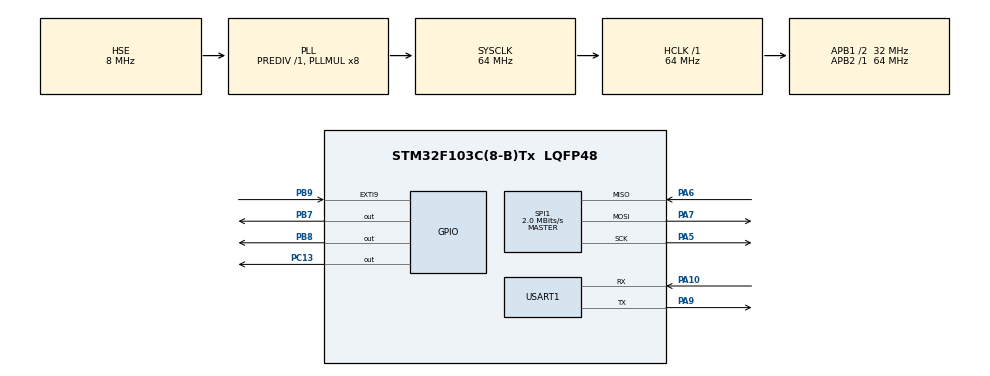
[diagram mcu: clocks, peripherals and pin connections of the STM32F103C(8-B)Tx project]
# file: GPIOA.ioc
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Mcu.Family=STM32F1
Mcu.Name=STM32F103C(8-B)Tx
Mcu.Package=LQFP48
NVIC.EXTI9_5_IRQn=true\:0\:0\:false\:false\:true\:true
NVIC.PriorityGroup=NVIC_PRIORITYGROUP_4
NVIC.USART1_IRQn=true\:1\:0\:true\:false\:true\:true
PA10.Mode=Asynchronous
PA10.Signal=USART1_RX
PA5.Mode=Full_Duplex_Master
PA5.Signal=SPI1_SCK
PA6.Mode=Full_Duplex_Master
PA6.Signal=SPI1_MISO
PA7.Mode=Full_Duplex_Master
PA7.Signal=SPI1_MOSI
PA9.Mode=Asynchronous
PA9.Signal=USART1_TX
PB7.Signal=GPIO_Output
PB8.Signal=GPIO_Output
PB9.GPIO_ModeDefaultEXTI=GPIO_MODE_IT_FALLING
PB9.Signal=GPXTI9
PC13-TAMPER-RTC.Signal=GPIO_Output
PD0-OSC_IN.Mode=HSE-External-Oscillator
PD0-OSC_IN.Signal=RCC_OSC_IN
PD1-OSC_OUT.Mode=HSE-External-Oscillator
PD1-OSC_OUT.Signal=RCC_OSC_OUT
ProjectManager.HeapSize=0x200
ProjectManager.StackSize=0x400
ProjectManager.TargetToolchain=MDK-ARM V5
RCC.AHBFreq_Value=64000000
RCC.APB1CLKDivider=RCC_HCLK_DIV2
RCC.APB1Freq_Value=32000000
RCC.APB1TimFreq_Value=64000000
RCC.APB2Freq_Value=64000000
RCC.APB2TimFreq_Value=64000000
RCC.HCLKFreq_Value=64000000
RCC.PLLMUL=RCC_PLL_MUL8
RCC.PLLSourceVirtual=RCC_PLLSOURCE_HSE
RCC.SYSCLKFreq_VALUE=64000000
RCC.SYSCLKSource=RCC_SYSCLKSOURCE_PLLCLK
RCC.USBFreq_Value=42666666.666666664
RCC.USBPrescaler=RCC_USBCLKSOURCE_PLL_DIV1_5
SPI1.BaudRatePrescaler=SPI_BAUDRATEPRESCALER_32
SPI1.CalculateBaudRate=2.0 MBits/s
SPI1.Direction=SPI_DIRECTION_2LINES
SPI1.Mode=SPI_MODE_MASTER
SPI1.VirtualType=VM_MASTER
USART1.VirtualMode=VM_ASYNC
VP_SYS_VS_ND.Mode=No_Debug
board=GPIOA

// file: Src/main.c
/**
  ******************************************************************************
  * @file           : main.c
  * @brief          : Main program body
  ******************************************************************************
  ** This notice applies to any and all portions of this file
  * that are not between comment pairs USER CODE BEGIN and
  * USER CODE END. Other portions of this file, whether
  * inserted by the user or by software development tools
  * are owned by their respective copyright owners.
  *
  * COPYRIGHT(c) 2020 STMicroelectronics
  *
  * Redistribution and use in source and binary forms, with or without modification,
  * are permitted provided that the following conditions are met:
  *   1. Redistributions of source code must retain the above copyright notice,
  *      this list of conditions and the following disclaimer.
  *   2. Redistributions in binary form must reproduce the above copyright notice,
  *      this list of conditions and the following disclaimer in the documentation
  *      and/or other materials provided with the distribution.
  *   3. Neither the name of STMicroelectronics nor the names of its contributors
  *      may be used to endorse or promote products derived from this software
  *      without specific prior written permission.
  *
  * THIS SOFTWARE IS PROVIDED BY THE COPYRIGHT HOLDERS AND CONTRIBUTORS "AS IS"
  * AND ANY EXPRESS OR IMPLIED WARRANTIES, INCLUDING, BUT NOT LIMITED TO, THE
  * IMPLIED WARRANTIES OF MERCHANTABILITY AND FITNESS FOR A PARTICULAR PURPOSE ARE
  * DISCLAIMED. IN NO EVENT SHALL THE COPYRIGHT HOLDER OR CONTRIBUTORS BE LIABLE
  * FOR ANY DIRECT, INDIRECT, INCIDENTAL, SPECIAL, EXEMPLARY, OR CONSEQUENTIAL
  * DAMAGES (INCLUDING, BUT NOT LIMITED TO, PROCUREMENT OF SUBSTITUTE GOODS OR
  * SERVICES; LOSS OF USE, DATA, OR PROFITS; OR BUSINESS INTERRUPTION) HOWEVER
  * CAUSED AND ON ANY THEORY OF LIABILITY, WHETHER IN CONTRACT, STRICT LIABILITY,
  * OR TORT (INCLUDING NEGLIGENCE OR OTHERWISE) ARISING IN ANY WAY OUT OF THE USE
  * OF THIS SOFTWARE, EVEN IF ADVISED OF THE POSSIBILITY OF SUCH DAMAGE.
  *
  ******************************************************************************
  */
#include "main.h"
#include "stm32f1xx_hal.h"

/* USER CODE BEGIN Includes */
#include "MY_NRF24.h"
#include <string.h>
/* USER CODE END Includes */

SPI_HandleTypeDef hspi1;

UART_HandleTypeDef huart1;

/* USER CODE BEGIN PV */
/* Private variables ---------------------------------------------------------*/
extern uint8_t Rx_str[200];
extern uint8_t Rx_index;

uint8_t Rx_index1=0;
uint8_t Rx_str1[50];
float resetnrf=0;

uint8_t Rx_data[2];
uint8_t TX_BUF[5] = {'a','b','c','d',';'};
char str1[50];
uint8_t buf1[20]={0};
uint8_t uart_rx=0;
int check=0,loop=0, start=0;
extern uint8_t rx_flag;
/* USER CODE END PV */

void SystemClock_Config(void);
static void MX_GPIO_Init(void);
static void MX_SPI1_Init(void);
static void MX_USART1_UART_Init(void);

/* USER CODE BEGIN PFP */
/* Private function prototypes -----------------------------------------------*/

/* USER CODE END PFP */

/* USER CODE BEGIN 0 */

void NRF_Sendstring()// Gui tw Rx_str1
	{
		Rx_index1++;
		for(int i=0;i<Rx_index1;i+=5)
		{
			HAL_Delay(1);
			for(int j=0;j<5;j++)
			{
				if((i+j)<Rx_index1)
				TX_BUF[j]=Rx_str1[i+j];
				else
					TX_BUF[j]=' ';
			}
			NRF24L01_Send(TX_BUF);
		}
	//	HAL_UART_Transmit(&huart1,(uint8_t *)Rx_str, 40,100);

		for(int i=0;i<Rx_index1;i++)
			Rx_str1[i]=0;
		Rx_index1=0;

	}

void HAL_UART_RxCpltCallback(UART_HandleTypeDef *huart) // Ghi vao Rx_str1;  huart1.Instance
	{
   if(huart->Instance == USART1 )
	{
		if(Rx_data[0]!=';')
		{
			Rx_str1[Rx_index1]=Rx_data[0];
			Rx_index1++;
		}
		else
		{
			Rx_str1[Rx_index1]=Rx_data[0];
			uart_rx=1;
			//LED_TGL;
		}
	HAL_UART_Receive_IT(&huart1,Rx_data, 1);
  }
}

/* USER CODE END 0 */

int main(void)
{
  /* USER CODE BEGIN 1 */
start=0;
	uint8_t dt_reg=0;
  /* USER CODE END 1 */

  /* MCU Configuration----------------------------------------------------------*/

  /* Reset of all peripherals, Initializes the Flash interface and the Systick. */
  HAL_Init();

  /* Configure the system clock */
  SystemClock_Config();

  /* Initialize all configured peripherals */
  MX_GPIO_Init();
  MX_SPI1_Init();
  MX_USART1_UART_Init();
  /* USER CODE BEGIN 2 */

	HAL_UART_Transmit(&huart1,(uint8_t *)"Setting UART Successfully;", strlen("Setting UART Successfully;"),100);
	NRF24_ini();
	HAL_Delay(500);
	HAL_UART_Transmit(&huart1,(uint8_t *)"Setting NRF Successfully;", strlen("Setting NRF Successfully;"),100);
	HAL_Delay(500);
	HAL_UART_Receive_IT(&huart1,Rx_data, 1);
		HAL_Delay(500);
		dt_reg = NRF24_ReadReg(CONFIG);
		sprintf(str1,"CONFIG: 0x%02X;",dt_reg);
		HAL_UART_Transmit(&huart1,(uint8_t*)str1,strlen(str1),0x1000);
		dt_reg = NRF24_ReadReg(EN_AA);
		sprintf(str1,"EN_AA: 0x%02X;",dt_reg);
		HAL_UART_Transmit(&huart1,(uint8_t*)str1,strlen(str1),0x1000);
		dt_reg = NRF24_ReadReg(EN_RXADDR);
		sprintf(str1,"EN_RXADDR: 0x%02X;",dt_reg);
		HAL_UART_Transmit(&huart1,(uint8_t*)str1,strlen(str1),0x1000);
		dt_reg = NRF24_ReadReg(STATUS);
		sprintf(str1,"STATUS: 0x%02X;",dt_reg);
		HAL_UART_Transmit(&huart1,(uint8_t*)str1,strlen(str1),0x1000);
		dt_reg = NRF24_ReadReg(RF_SETUP);
		sprintf(str1,"RF_SETUP: 0x%02X;",dt_reg);
		HAL_UART_Transmit(&huart1,(uint8_t*)str1,strlen(str1),0x1000);
		NRF24_Read_Buf(TX_ADDR,buf1,3);
		sprintf(str1,"TX_ADDR: 0x%02X, 0x%02X, 0x%02X;",buf1[0],buf1[1],buf1[2]);
		HAL_UART_Transmit(&huart1,(uint8_t*)str1,strlen(str1),0x1000);
		NRF24_Read_Buf(RX_ADDR_P0,buf1,3);
		sprintf(str1,"RX_ADDR: 0x%02X, 0x%02X, 0x%02X;",buf1[0],buf1[1],buf1[2]);
		HAL_UART_Transmit(&huart1,(uint8_t*)str1,strlen(str1),0x1000);
	LED_OFF;
	HAL_Delay(500);
  /* USER CODE END 2 */

  /* Infinite loop */
  /* USER CODE BEGIN WHILE */
  while (1)
  {
//NRF24L01_Receive();
  /* USER CODE END WHILE */
  /* USER CODE BEGIN 3 */
		resetnrf++;
		if(resetnrf>=800000)
		{
			HAL_GPIO_TogglePin(GPIOC,GPIO_PIN_13);
			resetnrf=0;
			TX_BUF[0]='n';
			TX_BUF[1]='n';
			TX_BUF[2]=';';
			NRF24L01_Send(TX_BUF);
		}

if(uart_rx==1)
{
//	HAL_UART_Transmit(&huart1,Rx_str1,Rx_index1+1,0x1000);
	if(Rx_str1[0]=='x' )
		{
			if(Rx_str1[1]=='k')
		{
			NRF24_ini();
		}
			dt_reg = NRF24_ReadReg(CONFIG);
		sprintf(str1,"CONFIG: 0x%02X;",dt_reg);
		HAL_UART_Transmit(&huart1,(uint8_t*)str1,strlen(str1),0x1000);
		dt_reg = NRF24_ReadReg(EN_AA);
		sprintf(str1,"EN_AA: 0x%02X;",dt_reg);
		HAL_UART_Transmit(&huart1,(uint8_t*)str1,strlen(str1),0x1000);
		dt_reg = NRF24_ReadReg(EN_RXADDR);
		sprintf(str1,"EN_RXADDR: 0x%02X;",dt_reg);
		HAL_UART_Transmit(&huart1,(uint8_t*)str1,strlen(str1),0x1000);
		dt_reg = NRF24_ReadReg(STATUS);
		sprintf(str1,"STATUS: 0x%02X;",dt_reg);
		HAL_UART_Transmit(&huart1,(uint8_t*)str1,strlen(str1),0x1000);
		dt_reg = NRF24_ReadReg(RF_SETUP);
		sprintf(str1,"RF_SETUP: 0x%02X;",dt_reg);
		HAL_UART_Transmit(&huart1,(uint8_t*)str1,strlen(str1),0x1000);
		NRF24_Read_Buf(TX_ADDR,buf1,3);
		sprintf(str1,"TX_ADDR: 0x%02X, 0x%02X, 0x%02X;",buf1[0],buf1[1],buf1[2]);
		HAL_UART_Transmit(&huart1,(uint8_t*)str1,strlen(str1),0x1000);
		NRF24_Read_Buf(RX_ADDR_P0,buf1,3);
		sprintf(str1,"RX_ADDR: 0x%02X, 0x%02X, 0x%02X;",buf1[0],buf1[1],buf1[2]);
		HAL_UART_Transmit(&huart1,(uint8_t*)str1,strlen(str1),0x1000);
		HAL_Delay(100);

		}
		else
		{
	NRF_Sendstring();
		}
	HAL_GPIO_TogglePin(GPIOC, GPIO_PIN_13);
	uart_rx=0;
	HAL_UART_Receive_IT(&huart1,Rx_data, 1);
}
if(Rx_index1!=0)
	check++;
else
	check=0;
if(check>=500000)
{
	sprintf(str1,"Reset %d %d;", check, Rx_index1);
	check=0;
		HAL_UART_Transmit(&huart1,(uint8_t*)str1,strlen(str1),0x1000);
	Rx_index1=0;
	HAL_UART_Receive_IT(&huart1,Rx_data, 1);
}
if(rx_flag==1)
{
	HAL_UART_Transmit(&huart1,Rx_str,Rx_index,10);
	rx_flag=0;
	for(int i=0;i<Rx_index;i++)
	{
		Rx_str[i]=0;
	}
	Rx_index=0;

}

//		sprintf(str1,"Ss");
//		NRF24L01_Send((uint8_t *)str1);
//		HAL_Delay(1000);
		//NRF24L01_Receive();
  }
  /* USER CODE END 3 */

}

void SystemClock_Config(void)
{

  RCC_OscInitTypeDef RCC_OscInitStruct;
  RCC_ClkInitTypeDef RCC_ClkInitStruct;

    /**Initializes the CPU, AHB and APB busses clocks
    */
  RCC_OscInitStruct.OscillatorType = RCC_OSCILLATORTYPE_HSE;
  RCC_OscInitStruct.HSEState = RCC_HSE_ON;
  RCC_OscInitStruct.HSEPredivValue = RCC_HSE_PREDIV_DIV1;
  RCC_OscInitStruct.HSIState = RCC_HSI_ON;
  RCC_OscInitStruct.PLL.PLLState = RCC_PLL_ON;
  RCC_OscInitStruct.PLL.PLLSource = RCC_PLLSOURCE_HSE;
  RCC_OscInitStruct.PLL.PLLMUL = RCC_PLL_MUL8;
  if (HAL_RCC_OscConfig(&RCC_OscInitStruct) != HAL_OK)
  {
    _Error_Handler(__FILE__, __LINE__);
  }

    /**Initializes the CPU, AHB and APB busses clocks
    */
  RCC_ClkInitStruct.ClockType = RCC_CLOCKTYPE_HCLK|RCC_CLOCKTYPE_SYSCLK
                              |RCC_CLOCKTYPE_PCLK1|RCC_CLOCKTYPE_PCLK2;
  RCC_ClkInitStruct.SYSCLKSource = RCC_SYSCLKSOURCE_PLLCLK;
  RCC_ClkInitStruct.AHBCLKDivider = RCC_SYSCLK_DIV1;
  RCC_ClkInitStruct.APB1CLKDivider = RCC_HCLK_DIV2;
  RCC_ClkInitStruct.APB2CLKDivider = RCC_HCLK_DIV1;

  if (HAL_RCC_ClockConfig(&RCC_ClkInitStruct, FLASH_LATENCY_2) != HAL_OK)
  {
    _Error_Handler(__FILE__, __LINE__);
  }

    /**Configure the Systick interrupt time
    */
  HAL_SYSTICK_Config(HAL_RCC_GetHCLKFreq()/1000);

    /**Configure the Systick
    */
  HAL_SYSTICK_CLKSourceConfig(SYSTICK_CLKSOURCE_HCLK);

  /* SysTick_IRQn interrupt configuration */
  HAL_NVIC_SetPriority(SysTick_IRQn, 0, 0);
}

/* SPI1 init function */
static void MX_SPI1_Init(void)
{

  /* SPI1 parameter configuration*/
  hspi1.Instance = SPI1;
  hspi1.Init.Mode = SPI_MODE_MASTER;
  hspi1.Init.Direction = SPI_DIRECTION_2LINES;
  hspi1.Init.DataSize = SPI_DATASIZE_8BIT;
  hspi1.Init.CLKPolarity = SPI_POLARITY_LOW;
  hspi1.Init.CLKPhase = SPI_PHASE_1EDGE;
  hspi1.Init.NSS = SPI_NSS_SOFT;
  hspi1.Init.BaudRatePrescaler = SPI_BAUDRATEPRESCALER_32;
  hspi1.Init.FirstBit = SPI_FIRSTBIT_MSB;
  hspi1.Init.TIMode = SPI_TIMODE_DISABLE;
  hspi1.Init.CRCCalculation = SPI_CRCCALCULATION_DISABLE;
  hspi1.Init.CRCPolynomial = 10;
  if (HAL_SPI_Init(&hspi1) != HAL_OK)
  {
    _Error_Handler(__FILE__, __LINE__);
  }

}

/* USART1 init function */
static void MX_USART1_UART_Init(void)
{

  huart1.Instance = USART1;
  huart1.Init.BaudRate = 115200;
  huart1.Init.WordLength = UART_WORDLENGTH_8B;
  huart1.Init.StopBits = UART_STOPBITS_1;
  huart1.Init.Parity = UART_PARITY_NONE;
  huart1.Init.Mode = UART_MODE_TX_RX;
  huart1.Init.HwFlowCtl = UART_HWCONTROL_NONE;
  huart1.Init.OverSampling = UART_OVERSAMPLING_16;
  if (HAL_UART_Init(&huart1) != HAL_OK)
  {
    _Error_Handler(__FILE__, __LINE__);
  }

}

/** Configure pins as
        * Analog
        * Input
        * Output
        * EVENT_OUT
        * EXTI
*/
static void MX_GPIO_Init(void)
{

  GPIO_InitTypeDef GPIO_InitStruct;

  /* GPIO Ports Clock Enable */
  __HAL_RCC_GPIOC_CLK_ENABLE();
  __HAL_RCC_GPIOD_CLK_ENABLE();
  __HAL_RCC_GPIOA_CLK_ENABLE();
  __HAL_RCC_GPIOB_CLK_ENABLE();

  /*Configure GPIO pin Output Level */
  HAL_GPIO_WritePin(GPIOC, GPIO_PIN_13, GPIO_PIN_RESET);

  /*Configure GPIO pin Output Level */
  HAL_GPIO_WritePin(GPIOB, GPIO_PIN_7|GPIO_PIN_8, GPIO_PIN_RESET);

  /*Configure GPIO pin : PC13 */
  GPIO_InitStruct.Pin = GPIO_PIN_13;
  GPIO_InitStruct.Mode = GPIO_MODE_OUTPUT_PP;
  GPIO_InitStruct.Speed = GPIO_SPEED_FREQ_LOW;
  HAL_GPIO_Init(GPIOC, &GPIO_InitStruct);

  /*Configure GPIO pins : PB7 PB8 */
  GPIO_InitStruct.Pin = GPIO_PIN_7|GPIO_PIN_8;
  GPIO_InitStruct.Mode = GPIO_MODE_OUTPUT_PP;
  GPIO_InitStruct.Speed = GPIO_SPEED_FREQ_LOW;
  HAL_GPIO_Init(GPIOB, &GPIO_InitStruct);

  /*Configure GPIO pin : PB9 */
  GPIO_InitStruct.Pin = GPIO_PIN_9;
  GPIO_InitStruct.Mode = GPIO_MODE_IT_FALLING;
  GPIO_InitStruct.Pull = GPIO_NOPULL;
  HAL_GPIO_Init(GPIOB, &GPIO_InitStruct);

  /* EXTI interrupt init*/
  HAL_NVIC_SetPriority(EXTI9_5_IRQn, 0, 0);
  HAL_NVIC_EnableIRQ(EXTI9_5_IRQn);

}

/* USER CODE BEGIN 4 */
void HAL_GPIO_EXTI_Callback(uint16_t GPIO_Pin)
{
  if(GPIO_Pin== GPIO_PIN_9)
  {
    IRQ_Callback();
  }
  else
  {
    __NOP();
  }
}
/* USER CODE END 4 */

void _Error_Handler(char *file, int line)
{
  while(1)
  {
  }
}

/************************ (C) COPYRIGHT STMicroelectronics *****END OF FILE****/
